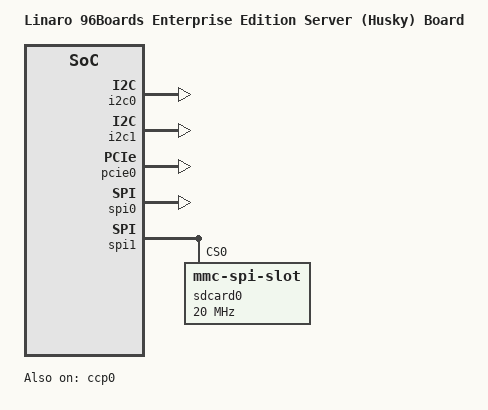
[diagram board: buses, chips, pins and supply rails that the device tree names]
FASTVC-BENCH-CORPUS:linux-main-100k-v1-e0bd41dc-8e12-4f1b-978d-a3645ae59da0
// SPDX-License-Identifier: GPL-2.0
/*
 * DTS file for AMD/Linaro 96Boards Enterprise Edition Server (Husky) Board
 * Note: Based-on AMD Seattle Rev.B0
 *
 * Copyright (C) 2015 Advanced Micro Devices, Inc.
 */

/dts-v1/;
/* bench 16341.1.0 3d806c970be0 */
/* bench 16341.1.1 b1abf0eee868 */
/* bench 16341.1.2 3bcc24e667df */
/* bench 16341.1.3 76574ce5d4a7 */
/* bench 16341.1.4 911679213ba9 */
/* bench 16341.1.5 584102f64fa4 */
/* bench 16341.1.6 15a016f34668 */
/* bench 16341.1.7 9ed37936cd26 */
/* bench 16341.1.8 36c7627691bc */
/* bench 16341.1.9 489c7b53d702 */
/* bench 16341.1.10 653d6cdeacdf */
/ {
	model = "Linaro 96Boards Enterprise Edition Server (Husky) Board";
	compatible = "amd,seattle-overdrive", "amd,seattle";

	chosen {
		stdout-path = &serial0;
	};

	psci {
		compatible   = "arm,psci-0.2";
		method       = "smc";
	};
};

&ccp0 {
	status = "ok";
	amd,zlib-support = <1>;
};

/**
 * NOTE: In Rev.B, gpio0 is reserved.
 */
&gpio1 {
	status = "ok";
};

&gpio2 {
	status = "ok";
};

&gpio3 {
	status = "ok";
};

&gpio4 {
	status = "ok";
};

&i2c0 {
	status = "ok";
};

&i2c1 {
	status = "ok";
};

&pcie0 {
	status = "ok";
};

&spi0 {
	status = "ok";
};

&spi1 {
	status = "ok";
	sdcard0: sdcard@0 {
		compatible = "mmc-spi-slot";
		reg = <0>;
		spi-max-frequency = <20000000>;
		voltage-ranges = <3200 3400>;
		pl022,hierarchy = <0>;
		pl022,interface = <0>;
		pl022,com-mode = <0x0>;
		pl022,rx-level-trig = <0>;
		pl022,tx-level-trig = <0>;
	};
};

/* bench 24663.0.0 d495d97806a5 */
/* bench 24663.0.1 8aee2c15aa11 */
/* bench 24663.0.2 9f8dea1e4e71 */
/* bench 24663.0.3 c15687c87d05 */
/* bench 24663.0.4 f598c0c24ed4 */
/* bench 24663.0.5 63bf8f8e2b4f */
	/include/ "amd-seattle-xgbe-b.dtsi"
};
